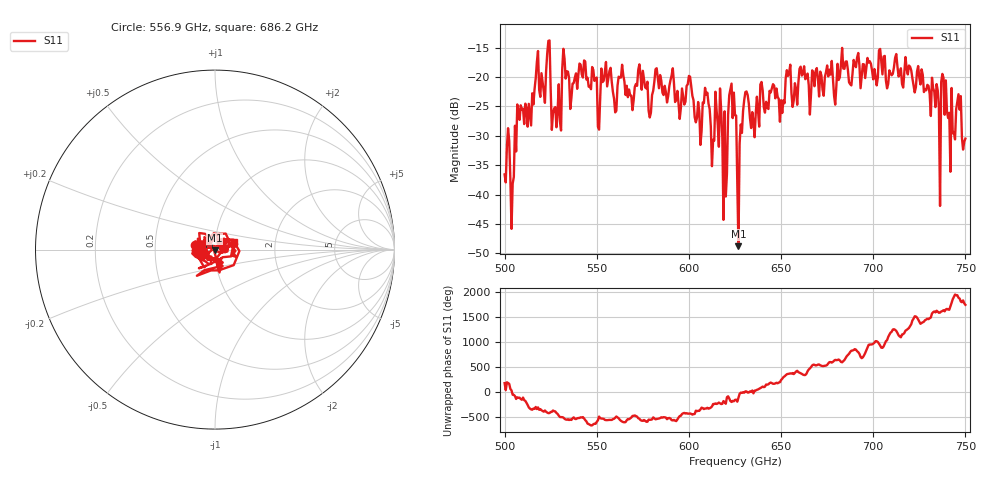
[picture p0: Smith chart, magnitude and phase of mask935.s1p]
!Created with skrf (http://scikit-rf.org).
# GHz S MA R 50.0
!freq magS11 angS11
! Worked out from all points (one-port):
!   401 points, 500 GHz to 750 GHz, reference 50 ohm
!   lowest |S11| = -48.8 dB at 626.9 GHz (marker M1), VSWR 1.01, Z = 49.9 - j0.338 ohm
!   |S11| at or under -10 dB: start of sweep to end of sweep
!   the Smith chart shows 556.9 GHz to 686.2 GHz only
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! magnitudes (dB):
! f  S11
! 500 GHz  -36.6
! 504.4 GHz  -38.1
! 508.1 GHz  -27.3
! 513.1 GHz  -24.6
! 517.5 GHz  -17.5
! 523.8 GHz  -13.8
! 526.9 GHz  -25.3
! 531.2 GHz  -18.6
! 562.5 GHz  -20.1
! 593.8 GHz  -22.3
! 610 GHz  -22.6
! 612.5 GHz  -35.2
! 616.2 GHz  -31.9
! 619.4 GHz  -25.8
! 622.5 GHz  -22.1
! 625 GHz  -26.5
! 626.9 GHz  -48.8
! 630.6 GHz  -22.6
! 634.4 GHz  -26.0
! 656.2 GHz  -25.1
! 687.5 GHz  -21.2
! 718.8 GHz  -19.5
! 733.1 GHz  -22.5
! 735 GHz  -22.3
! 738.1 GHz  -20.1
! 743.1 GHz  -29.6
! 746.2 GHz  -22.9
! 750 GHz  -30.5
